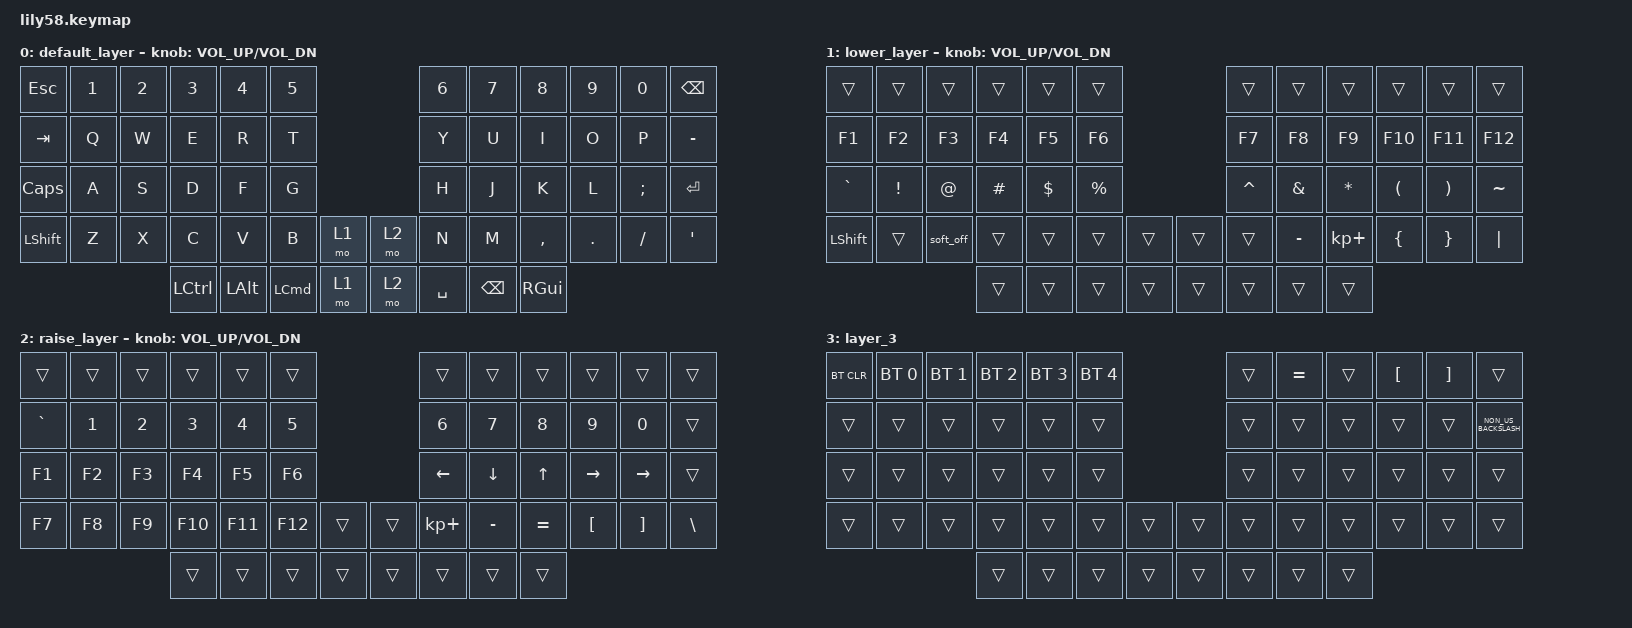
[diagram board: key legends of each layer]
/*
 * Copyright (c) 2020 The ZMK Contributors
 *
 * SPDX-License-Identifier: MIT
 */

#include <behaviors.dtsi>
#include <dt-bindings/zmk/bt.h>
#include <dt-bindings/zmk/keys.h>

&soft_off {
    hold-time-ms = <3000>; // Only turn off it the key is held for 5 seconds or longer.
};

&soft_off { /delete-property/ split-peripheral-off-on-press; };

/ {
    keymap {
        compatible = "zmk,keymap";

        default_layer {
            // ------------------------------------------------------------------------------------------------------------
            // |  ESC  |  1  |  2  |  3   |  4   |  5   |                   |  6   |  7    |  8    |  9   |   0   |   `   |
            // |  TAB  |  Q  |  W  |  E   |  R   |  T   |                   |  Y   |  U    |  I    |  O   |   P   |   -   |
            // |  CTRL |  A  |  S  |  D   |  F   |  G   |                   |  H   |  J    |  K    |  L   |   ;   |   '   |
            // | SHIFT |  Z  |  X  |  C   |  V   |  B   |   "["  |  |  "]"  |  N   |  M    |  ,    |  .   |   /   | SHIFT |
            //                     | ALT  | GUI  | LOWER|  ENTER |  | SPACE | RAISE| BSPC  | GUI   |

            bindings = <
&kp ESC       &kp N1  &kp N2  &kp N3     &kp N4        &kp N5                    &kp N6     &kp N7    &kp N8     &kp N9   &kp N0    &kp BACKSPACE
&kp TAB       &kp Q   &kp W   &kp E      &kp R         &kp T                     &kp Y      &kp U     &kp I      &kp O    &kp P     &kp MINUS
&kp CAPSLOCK  &kp A   &kp S   &kp D      &kp F         &kp G                     &kp H      &kp J     &kp K      &kp L    &kp SEMI  &kp RETURN
&kp LSHFT     &kp Z   &kp X   &kp C      &kp V         &kp B     &mo 1    &mo 2  &kp N      &kp M     &kp COMMA  &kp DOT  &kp FSLH  &kp SINGLE_QUOTE
                              &kp LCTRL  &kp LEFT_ALT  &kp LCMD  &mo 1    &mo 2  &kp SPACE  &kp BSPC  &kp RGUI
            >;

            sensor-bindings = <&inc_dec_kp C_VOL_UP C_VOL_DN>;
        };

        lower_layer {
            // ------------------------------------------------------------------------------------------------------------
            // | BTCLR | BT1 | BT2 |  BT3 |  BT4 |  BT5 |                   |      |       |       |      |       |       |
            // |  F1   |  F2 |  F3 |  F4  |  F5  |  F6  |                   |  F7  |  F8   |  F9   |  F10 |  F11  |  F12  |
            // |   `   |  !  |  @  |  #   |  $   |  %   |                   |  ^   |  &    |  *    |  (   |   )   |   ~   |
            // |       |     |     |      |      |      |        |  |       |      |  _    |  +    |  {   |   }   |  "|"  |
            //                     |      |      |      |        |  |       |      |       |       |

            bindings = <
&trans          &trans    &trans     &trans    &trans      &trans                       &trans     &trans     &trans        &trans    &trans    &trans
&kp F1          &kp F2    &kp F3     &kp F4    &kp F5      &kp F6                       &kp F7     &kp F8     &kp F9        &kp F10   &kp F11   &kp F12
&kp GRAVE       &kp EXCL  &kp AT     &kp HASH  &kp DOLLAR  &kp PRCNT                    &kp CARET  &kp AMPS   &kp ASTERISK  &kp LPAR  &kp RPAR  &kp TILDE
&kp LEFT_SHIFT  &trans    &soft_off  &trans    &trans      &trans     &trans    &trans  &trans     &kp MINUS  &kp KP_PLUS   &kp LBRC  &kp RBRC  &kp PIPE
                                     &trans    &trans      &trans     &trans    &trans  &trans     &trans     &trans
            >;

            sensor-bindings = <&inc_dec_kp C_VOL_UP C_VOL_DN>;
        };

        raise_layer {
            // ------------------------------------------------------------------------------------------------------------
            // |       |     |     |      |      |      |                   |      |       |       |      |       |       |
            // |   `   |  1  |  2  |  3   |  4   |  5   |                   |  6   |   7   |   8   |  9   |   0   |       |
            // |   F1  |  F2 |  F3 |  F4  |  F5  |  F6  |                   |      |   <-  |   v   |  ^   |  ->   |       |
            // |   F7  |  F8 |  F9 |  F10 |  F11 |  F12 |        |  |       |  +   |   -   |   =   |  [   |   ]   |   \   |
            //                     |      |      |      |        |  |       |      |       |       |

            bindings = <
&trans     &trans  &trans  &trans   &trans   &trans                     &trans          &trans          &trans        &trans           &trans     &trans
&kp GRAVE  &kp N1  &kp N2  &kp N3   &kp N4   &kp N5                     &kp N6          &kp N7          &kp N8        &kp N9           &kp N0     &trans
&kp F1     &kp F2  &kp F3  &kp F4   &kp F5   &kp F6                     &kp LEFT_ARROW  &kp DOWN_ARROW  &kp UP_ARROW  &kp RIGHT_ARROW  &kp RIGHT  &trans
&kp F7     &kp F8  &kp F9  &kp F10  &kp F11  &kp F12  &trans    &trans  &kp KP_PLUS     &kp MINUS       &kp EQUAL     &kp LBKT         &kp RBKT   &kp BSLH
                           &trans   &trans   &trans   &trans    &trans  &trans          &trans          &trans
            >;

            sensor-bindings = <&inc_dec_kp C_VOL_UP C_VOL_DN>;
        };

        layer_3 {
            bindings = <
&bt BT_CLR  &bt BT_SEL 0  &bt BT_SEL 1  &bt BT_SEL 2  &bt BT_SEL 3  &bt BT_SEL 4                    &trans  &kp EQUAL  &trans  &kp LEFT_BRACKET  &kp RIGHT_BRACKET  &trans
&trans      &trans        &trans        &trans        &trans        &trans                          &trans  &trans     &trans  &trans            &trans             &kp NON_US_BACKSLASH
&trans      &trans        &trans        &trans        &trans        &trans                          &trans  &trans     &trans  &trans            &trans             &trans
&trans      &trans        &trans        &trans        &trans        &trans        &trans    &trans  &trans  &trans     &trans  &trans            &trans             &trans
                                        &trans        &trans        &trans        &trans    &trans  &trans  &trans     &trans
            >;
        };
    };
};
